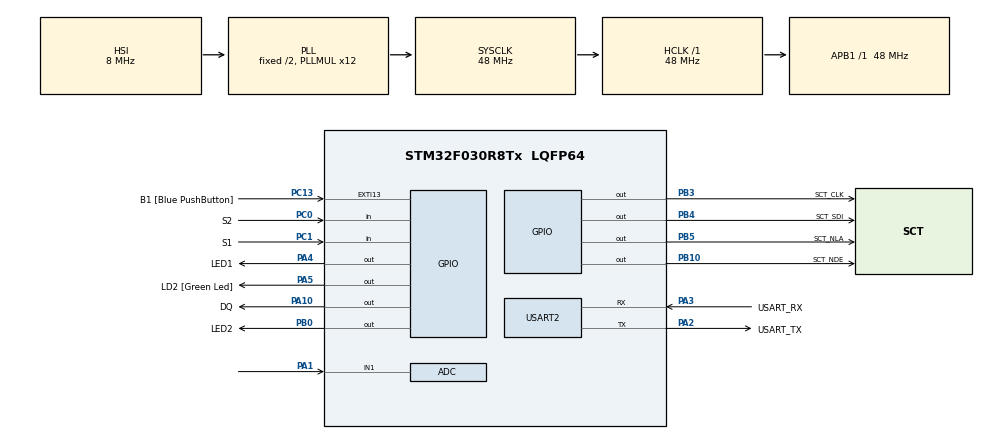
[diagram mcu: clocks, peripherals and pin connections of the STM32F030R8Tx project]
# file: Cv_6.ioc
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ADC.ContinuousConvMode=ENABLE
ADC.Overrun=ADC_OVR_DATA_OVERWRITTEN
ADC.Resolution=ADC_RESOLUTION_10B
Mcu.Family=STM32F0
Mcu.Name=STM32F030R8Tx
Mcu.Package=LQFP64
PA1.Mode=IN1
PA1.Signal=ADC_IN1
PA10.GPIO_Label=DQ
PA10.GPIO_ModeDefaultOutputPP=GPIO_MODE_OUTPUT_OD
PA10.GPIO_PuPd=GPIO_NOPULL
PA10.Signal=GPIO_Output
PA13.GPIO_Label=TMS
PA13.Mode=Serial_Wire
PA13.Signal=SYS_SWDIO
PA14.GPIO_Label=TCK
PA14.Mode=Serial_Wire
PA14.Signal=SYS_SWCLK
PA2.GPIO_Label=USART_TX
PA2.GPIO_Mode=GPIO_MODE_AF_PP
PA2.GPIO_PuPd=GPIO_NOPULL
PA2.GPIO_Speed=GPIO_SPEED_FREQ_LOW
PA2.Mode=Asynchronous
PA2.Signal=USART2_TX
PA3.GPIO_Label=USART_RX
PA3.GPIO_Mode=GPIO_MODE_AF_PP
PA3.GPIO_PuPd=GPIO_NOPULL
PA3.GPIO_Speed=GPIO_SPEED_FREQ_LOW
PA3.Mode=Asynchronous
PA3.Signal=USART2_RX
PA4.GPIO_Label=LED1
PA4.Signal=GPIO_Output
PA5.GPIO_Label=LD2 [Green Led]
PA5.GPIO_Mode=GPIO_MODE_OUTPUT_PP
PA5.GPIO_PuPd=GPIO_NOPULL
PA5.GPIO_Speed=GPIO_SPEED_FREQ_LOW
PA5.Signal=GPIO_Output
PB0.GPIO_Label=LED2
PB0.Signal=GPIO_Output
PB10.GPIO_Label=SCT_NDE
PB10.Signal=GPIO_Output
PB3.GPIO_Label=SCT_CLK
PB3.Signal=GPIO_Output
PB4.GPIO_Label=SCT_SDI
PB4.Signal=GPIO_Output
PB5.GPIO_Label=SCT_NLA
PB5.Signal=GPIO_Output
PC0.GPIO_Label=S2
PC0.Signal=GPIO_Input
PC1.GPIO_Label=S1
PC1.Signal=GPIO_Input
PC13.GPIO_Label=B1 [Blue PushButton]
PC13.GPIO_ModeDefaultEXTI=GPIO_MODE_IT_FALLING
PC13.Signal=GPXTI13
PC14-OSC32_IN.Mode=LSE-External-Oscillator
PC14-OSC32_IN.Signal=RCC_OSC32_IN
PC15-OSC32_OUT.Mode=LSE-External-Oscillator
PC15-OSC32_OUT.Signal=RCC_OSC32_OUT
PF0-OSC_IN.Mode=HSE-External-Clock-Source
PF0-OSC_IN.Signal=RCC_OSC_IN
PF1-OSC_OUT.Signal=RCC_OSC_OUT
ProjectManager.HeapSize=0x200
ProjectManager.StackSize=0x400
ProjectManager.TargetToolchain=STM32CubeIDE
RCC.AHBFreq_Value=48000000
RCC.APB1Freq_Value=48000000
RCC.APB1TimFreq_Value=48000000
RCC.HCLKFreq_Value=48000000
RCC.PLLMUL=RCC_PLL_MUL12
RCC.SYSCLKFreq_VALUE=48000000
RCC.SYSCLKSource=RCC_SYSCLKSOURCE_PLLCLK
USART2.VirtualMode-Asynchronous=VM_ASYNC
board=NUCLEO-F030R8

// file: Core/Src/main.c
/* USER CODE BEGIN Header */
/**
  ******************************************************************************
  * @file           : main.c
  * @brief          : Main program body
  ******************************************************************************
  * @attention
  *
  * Copyright (c) 2022 STMicroelectronics.
  * All rights reserved.
  *
  * This software is licensed under terms that can be found in the LICENSE file
  * in the root directory of this software component.
  * If no LICENSE file comes with this software, it is provided AS-IS.
  *
  ******************************************************************************
  */
/* USER CODE END Header */
#include "main.h"

/* USER CODE BEGIN Includes */
#include "1wire.h"
#include "sct.h"
#include "constant.h"
/* USER CODE END Includes */

/* USER CODE BEGIN PD */
#define CONVERT_T_DELAY 750
/* USER CODE END PD */

ADC_HandleTypeDef hadc;

UART_HandleTypeDef huart2;

void SystemClock_Config(void);
static void MX_GPIO_Init(void);
static void MX_USART2_UART_Init(void);
static void MX_ADC_Init(void);

int main(void)
{

  /* MCU Configuration--------------------------------------------------------*/

  /* Reset of all peripherals, Initializes the Flash interface and the Systick. */
  HAL_Init();

  /* Configure the system clock */
  SystemClock_Config();

  /* Initialize all configured peripherals */
  MX_GPIO_Init();
  MX_USART2_UART_Init();
  MX_ADC_Init();
  /* USER CODE BEGIN 2 */
  OWInit();
  sct_init();
  HAL_ADCEx_Calibration_Start(&hadc);
  HAL_ADC_Start(&hadc);

  static enum {CONVERT, BTN_CHECK, VALUE_GET, VALUE_DISPLAY, STATE_SW } state = STATE_SW;

  static uint8_t temp_switch = 0;
  static int16_t NTC_temp;
//  static int16_t convert_delay;
//  static int16_t btn_delay;
//  static int16_t display_delay;
  static int16_t temp_18b20;

  /* USER CODE END 2 */

  /* Infinite loop */
  /* USER CODE BEGIN WHILE */
  while (1)
  {

static uint32_t last_measure = 0;
static uint32_t last_display = 0;
static uint32_t last_btn = 0;

		if (HAL_GetTick() >= last_measure + 750) {
			last_measure = HAL_GetTick();
			OWConvertAll();
			OWReadTemperature(&temp_18b20);
		}
		if (HAL_GetTick() >= last_display + 100) {
			last_display = HAL_GetTick();

			NTC_temp = ntc_lookup_temp[HAL_ADC_GetValue(&hadc)];
			if (temp_switch == 0){
			sct_value(NTC_temp, 8);
			}
			else if (temp_switch == 1)
			{
			sct_value(temp_18b20 / 10, 1);
			}

		}
		if (HAL_GetTick() >= last_btn + 40) {
			last_btn = HAL_GetTick();
			if (HAL_GPIO_ReadPin(S1_GPIO_Port, S1_Pin) == 0) {
				temp_switch = 1; //store state if switch S1 is on
				HAL_GPIO_WritePin(LED1_GPIO_Port, LED1_Pin, 0); //light up  LED1
				HAL_GPIO_WritePin(LED2_GPIO_Port, LED2_Pin, 1);
			} else if (HAL_GPIO_ReadPin(S2_GPIO_Port, S2_Pin) == 0) {
				temp_switch = 0; //store state if switch S2 is on
				HAL_GPIO_WritePin(LED1_GPIO_Port, LED1_Pin, 1);
				HAL_GPIO_WritePin(LED2_GPIO_Port, LED2_Pin, 0);
			}
		}

//	  switch (state)
//	 		  {
//	 			case CONVERT: // one wire conversation begin
//	 				OWConvertAll();
//	 				convert_delay = HAL_GetTick();
//	 				state = STATE_SW;
//	 				break;
//
//	 			case BTN_CHECK: //check button state of S1 S2
//	 				btn_delay = HAL_GetTick();
//	 				state = STATE_SW;
//	 				if (HAL_GPIO_ReadPin(S1_GPIO_Port, S1_Pin) == 0)
//	 				{
//	 					temp_switch = 1; //store state if switch S1 is on
//	 					HAL_GPIO_WritePin(LED1_GPIO_Port, LED1_Pin, 0); //light up  LED1
//	 					HAL_GPIO_WritePin(LED2_GPIO_Port, LED2_Pin, 1);
//	 					state = VALUE_DISPLAY;
//	 				}
//	 				else if (HAL_GPIO_ReadPin(S2_GPIO_Port, S2_Pin) == 0)
//	 				{
//	 					temp_switch = 0; //store state if switch S2 is on
//	 					HAL_GPIO_WritePin(LED1_GPIO_Port, LED1_Pin, 1);
//	 					HAL_GPIO_WritePin(LED2_GPIO_Port, LED2_Pin, 0);
//	 					state = VALUE_DISPLAY;
//	 				}
//	 				break;
//
//	 			case VALUE_GET:
//	 				OWReadTemperature(&temp_18b20);
//	 				NTC_temp = ntc_lookup_temp[HAL_ADC_GetValue(&hadc)];
//	 				state = CONVERT;
//	 				break;
//
//	 			case VALUE_DISPLAY:
//	 				display_delay = HAL_GetTick();
//	 				if (temp_switch == 0)
//	 				{
//	 					sct_value(NTC_temp, 8);
//	 				}
//	 				else if (temp_switch == 1)
//	 				{
//	 					sct_value(temp_18b20 / 10, 1);
//	 				}
//	 				state = STATE_SW;
//	 				break;
//
//	 			case STATE_SW:
//	 				if (HAL_GetTick() > convert_delay + 750)
//	 				{
//	 					state = VALUE_GET;
//	 				}
//	 				else if (HAL_GetTick() > display_delay  + 100)
//	 				{
//	 					state = VALUE_DISPLAY;
//	 				}
//	 				else if (HAL_GetTick() > btn_delay + 40)
//	 				{
//	 					state = BTN_CHECK;
//	 				}
//	 				break;
//
//	 			default:
//	 				break;
    /* USER CODE END WHILE */

  }
}

void SystemClock_Config(void)
{
  RCC_OscInitTypeDef RCC_OscInitStruct = {0};
  RCC_ClkInitTypeDef RCC_ClkInitStruct = {0};

  /** Initializes the RCC Oscillators according to the specified parameters
  * in the RCC_OscInitTypeDef structure.
  */
  RCC_OscInitStruct.OscillatorType = RCC_OSCILLATORTYPE_HSI|RCC_OSCILLATORTYPE_HSI14;
  RCC_OscInitStruct.HSIState = RCC_HSI_ON;
  RCC_OscInitStruct.HSI14State = RCC_HSI14_ON;
  RCC_OscInitStruct.HSICalibrationValue = RCC_HSICALIBRATION_DEFAULT;
  RCC_OscInitStruct.HSI14CalibrationValue = 16;
  RCC_OscInitStruct.PLL.PLLState = RCC_PLL_ON;
  RCC_OscInitStruct.PLL.PLLSource = RCC_PLLSOURCE_HSI;
  RCC_OscInitStruct.PLL.PLLMUL = RCC_PLL_MUL12;
  RCC_OscInitStruct.PLL.PREDIV = RCC_PREDIV_DIV1;
  if (HAL_RCC_OscConfig(&RCC_OscInitStruct) != HAL_OK)
  {
    Error_Handler();
  }

  /** Initializes the CPU, AHB and APB buses clocks
  */
  RCC_ClkInitStruct.ClockType = RCC_CLOCKTYPE_HCLK|RCC_CLOCKTYPE_SYSCLK
                              |RCC_CLOCKTYPE_PCLK1;
  RCC_ClkInitStruct.SYSCLKSource = RCC_SYSCLKSOURCE_PLLCLK;
  RCC_ClkInitStruct.AHBCLKDivider = RCC_SYSCLK_DIV1;
  RCC_ClkInitStruct.APB1CLKDivider = RCC_HCLK_DIV1;

  if (HAL_RCC_ClockConfig(&RCC_ClkInitStruct, FLASH_LATENCY_1) != HAL_OK)
  {
    Error_Handler();
  }
}

static void MX_ADC_Init(void)
{

  ADC_ChannelConfTypeDef sConfig = {0};

  /** Configure the global features of the ADC (Clock, Resolution, Data Alignment and number of conversion)
  */
  hadc.Instance = ADC1;
  hadc.Init.ClockPrescaler = ADC_CLOCK_ASYNC_DIV1;
  hadc.Init.Resolution = ADC_RESOLUTION_10B;
  hadc.Init.DataAlign = ADC_DATAALIGN_RIGHT;
  hadc.Init.ScanConvMode = ADC_SCAN_DIRECTION_FORWARD;
  hadc.Init.EOCSelection = ADC_EOC_SINGLE_CONV;
  hadc.Init.LowPowerAutoWait = DISABLE;
  hadc.Init.LowPowerAutoPowerOff = DISABLE;
  hadc.Init.ContinuousConvMode = ENABLE;
  hadc.Init.DiscontinuousConvMode = DISABLE;
  hadc.Init.ExternalTrigConv = ADC_SOFTWARE_START;
  hadc.Init.ExternalTrigConvEdge = ADC_EXTERNALTRIGCONVEDGE_NONE;
  hadc.Init.DMAContinuousRequests = DISABLE;
  hadc.Init.Overrun = ADC_OVR_DATA_OVERWRITTEN;
  if (HAL_ADC_Init(&hadc) != HAL_OK)
  {
    Error_Handler();
  }

  /** Configure for the selected ADC regular channel to be converted.
  */
  sConfig.Channel = ADC_CHANNEL_1;
  sConfig.Rank = ADC_RANK_CHANNEL_NUMBER;
  sConfig.SamplingTime = ADC_SAMPLETIME_1CYCLE_5;
  if (HAL_ADC_ConfigChannel(&hadc, &sConfig) != HAL_OK)
  {
    Error_Handler();
  }

}

static void MX_USART2_UART_Init(void)
{

  huart2.Instance = USART2;
  huart2.Init.BaudRate = 38400;
  huart2.Init.WordLength = UART_WORDLENGTH_8B;
  huart2.Init.StopBits = UART_STOPBITS_1;
  huart2.Init.Parity = UART_PARITY_NONE;
  huart2.Init.Mode = UART_MODE_TX_RX;
  huart2.Init.HwFlowCtl = UART_HWCONTROL_NONE;
  huart2.Init.OverSampling = UART_OVERSAMPLING_16;
  huart2.Init.OneBitSampling = UART_ONE_BIT_SAMPLE_DISABLE;
  huart2.AdvancedInit.AdvFeatureInit = UART_ADVFEATURE_NO_INIT;
  if (HAL_UART_Init(&huart2) != HAL_OK)
  {
    Error_Handler();
  }

}

static void MX_GPIO_Init(void)
{
  GPIO_InitTypeDef GPIO_InitStruct = {0};

  /* GPIO Ports Clock Enable */
  __HAL_RCC_GPIOC_CLK_ENABLE();
  __HAL_RCC_GPIOF_CLK_ENABLE();
  __HAL_RCC_GPIOA_CLK_ENABLE();
  __HAL_RCC_GPIOB_CLK_ENABLE();

  /*Configure GPIO pin Output Level */
  HAL_GPIO_WritePin(GPIOA, GPIO_PIN_4|GPIO_PIN_5|GPIO_PIN_10, GPIO_PIN_RESET);

  /*Configure GPIO pin Output Level */
  HAL_GPIO_WritePin(GPIOB, GPIO_PIN_0|GPIO_PIN_10|GPIO_PIN_3|GPIO_PIN_4
                          |GPIO_PIN_5, GPIO_PIN_RESET);

  /*Configure GPIO pin : PC13 */
  GPIO_InitStruct.Pin = GPIO_PIN_13;
  GPIO_InitStruct.Mode = GPIO_MODE_IT_FALLING;
  GPIO_InitStruct.Pull = GPIO_NOPULL;
  HAL_GPIO_Init(GPIOC, &GPIO_InitStruct);

  /*Configure GPIO pins : PC0 PC1 */
  GPIO_InitStruct.Pin = GPIO_PIN_0|GPIO_PIN_1;
  GPIO_InitStruct.Mode = GPIO_MODE_INPUT;
  GPIO_InitStruct.Pull = GPIO_NOPULL;
  HAL_GPIO_Init(GPIOC, &GPIO_InitStruct);

  /*Configure GPIO pins : PA4 PA5 */
  GPIO_InitStruct.Pin = GPIO_PIN_4|GPIO_PIN_5;
  GPIO_InitStruct.Mode = GPIO_MODE_OUTPUT_PP;
  GPIO_InitStruct.Pull = GPIO_NOPULL;
  GPIO_InitStruct.Speed = GPIO_SPEED_FREQ_LOW;
  HAL_GPIO_Init(GPIOA, &GPIO_InitStruct);

  /*Configure GPIO pins : PB0 PB10 PB3 PB4
                           PB5 */
  GPIO_InitStruct.Pin = GPIO_PIN_0|GPIO_PIN_10|GPIO_PIN_3|GPIO_PIN_4
                          |GPIO_PIN_5;
  GPIO_InitStruct.Mode = GPIO_MODE_OUTPUT_PP;
  GPIO_InitStruct.Pull = GPIO_NOPULL;
  GPIO_InitStruct.Speed = GPIO_SPEED_FREQ_LOW;
  HAL_GPIO_Init(GPIOB, &GPIO_InitStruct);

  /*Configure GPIO pin : PA10 */
  GPIO_InitStruct.Pin = GPIO_PIN_10;
  GPIO_InitStruct.Mode = GPIO_MODE_OUTPUT_OD;
  GPIO_InitStruct.Pull = GPIO_NOPULL;
  GPIO_InitStruct.Speed = GPIO_SPEED_FREQ_LOW;
  HAL_GPIO_Init(GPIOA, &GPIO_InitStruct);

}

void Error_Handler(void)
{
  __disable_irq();
  while (1)
  {
  }
}
